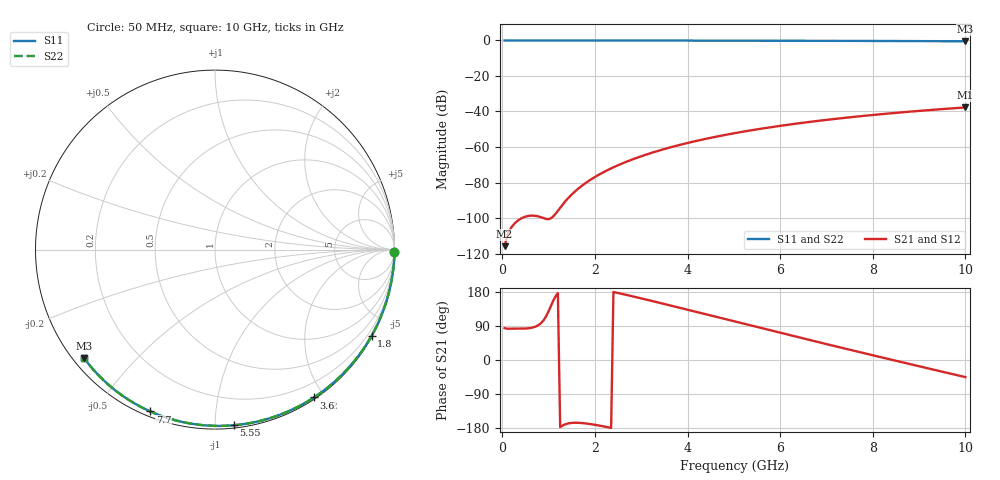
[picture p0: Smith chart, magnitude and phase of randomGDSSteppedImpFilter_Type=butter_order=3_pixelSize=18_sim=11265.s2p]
! freq	dB(S11)	phase(S11)	dB(S12)	phase(S12)
!  dB(S21)	phase(S21)	dB(S22)	phase(S22)
!S-par simulation data
#  GHz  S  DB  R 50
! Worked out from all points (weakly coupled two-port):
!   200 points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, 50 MHz to 10 GHz, reference 50 ohm
!   highest |S21| = -37.72 dB at 10 GHz (marker M1); lowest = -115.8 dB at 50 MHz (marker M2)
!   lowest |S11| = -0.5 dB at 10 GHz (marker M3), VSWR 36.94, Z = 1.53 - j18.1 ohm
!   |S11| at or under -10 dB: nowhere
!   |S22| runs from -0.5 to 0.0 dB; largest |S21 - S12| = 0
!   S11 on the Smith chart (normalised r, x): 50 MHz: open; 1.8 GHz: 0.03, -3.90; 3.6 GHz: 0.02, -1.87; 5.55 GHz: 0.02, -1.11; 7.7 GHz: 0.02, -0.68; 10 GHz: 0.03, -0.36
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0.05  -0.00 -0.8  -115.84 84.2  -115.84 84.2  -0.00 -0.8
0.45  -0.01 -7.3  -99.69 82.8  -99.69 82.8  -0.01 -7.3
0.9  -0.02 -14.5  -100.14 106.3  -100.14 106.3  -0.02 -14.5
1.75  -0.04 -28.0  -81.20 -166.7  -81.20 -166.7  -0.04 -28.0
1.8  -0.04 -28.8  -80.26 -167.4  -80.26 -167.4  -0.04 -28.8
1.85  -0.04 -29.6  -79.36 -168.2  -79.36 -168.2  -0.04 -29.6
2  -0.04 -31.9  -76.88 -171.0  -76.88 -171.0  -0.04 -31.9
2.15  -0.04 -34.2  -74.66 -174.3  -74.66 -174.3  -0.04 -34.2
2.35  -0.05 -37.3  -72.03 -179.3  -72.03 -179.3  -0.05 -37.3
2.55  -0.05 -40.4  -69.69 175.4  -69.69 175.4  -0.05 -40.4
2.95  -0.06 -46.5  -65.66 164.1  -65.66 164.1  -0.06 -46.5
3.4  -0.07 -53.2  -61.88 150.8  -61.88 150.8  -0.07 -53.2
3.6  -0.08 -56.2  -60.40 144.8  -60.40 144.8  -0.08 -56.2
4.3  -0.09 -66.4  -55.93 123.5  -55.93 123.5  -0.09 -66.4
5.05  -0.12 -76.9  -52.05 100.7  -52.05 100.7  -0.12 -76.9
5.55  -0.14 -83.8  -49.85 85.5  -49.85 85.5  -0.14 -83.8
6.1  -0.16 -91.2  -47.71 68.9  -47.71 68.9  -0.16 -91.2
6.7  -0.19 -99.1  -45.65 50.9  -45.65 50.9  -0.19 -99.1
7.7  -0.25 -111.8  -42.73 21.3  -42.73 21.3  -0.25 -111.8
8.35  -0.31 -119.9  -41.11 2.3  -41.11 2.3  -0.31 -119.9
9.2  -0.38 -130.4  -39.24 -22.2  -39.24 -22.2  -0.38 -130.4
10  -0.47 -140.2  -37.72 -45.2  -37.72 -45.2  -0.47 -140.2
